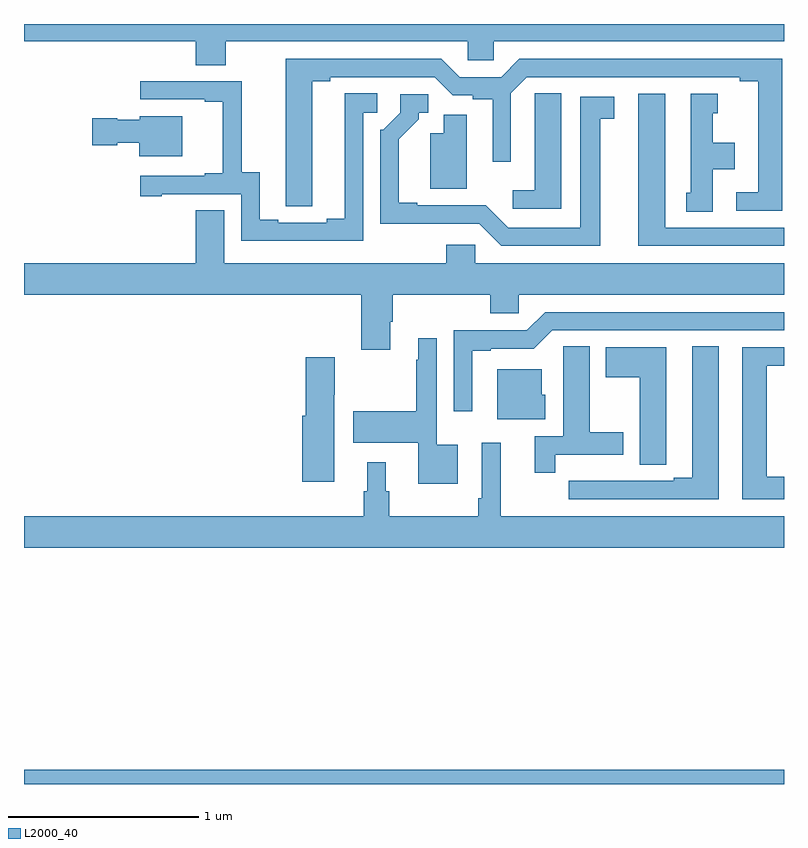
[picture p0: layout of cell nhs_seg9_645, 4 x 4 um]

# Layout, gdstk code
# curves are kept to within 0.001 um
import gdstk
lib = gdstk.Library(unit=1e-6, precision=1e-09)
def R(c, l, rs):  # rectangles x0, y0, x1, y1
    for r in rs: c.add(gdstk.rectangle(r[:2], r[2:], *l))
def P(c, l, *ps):  # polygons
    for p in ps: c.add(gdstk.Polygon(p, *l))
L2000_40 = (2000, 40)

nhs_seg9_645 = lib.new_cell('nhs_seg9_645')
R(nhs_seg9_645, L2000_40, [(143,1204.5,147,1204.576)])
P(nhs_seg9_645, L2000_40, [(144.063,1208.408),(145.335,1208.408),(145.335,1208.31),(145.473,1208.31),(145.473,1208.408),(147,1208.408),(147,1208.5),(143,1208.5),(143,1208.408),(143.903,1208.408),(143.903,1208.284),(144.063,1208.284)],
  [(146.992,1208.316),(145.607,1208.316),(145.511,1208.22),(145.293,1208.22),(145.197,1208.316),(144.377,1208.316),(144.378,1207.54),(144.517,1207.54),(144.517,1208.2),(144.613,1208.2),(144.613,1208.22),(145.161,1208.22),(145.257,1208.124),(145.362,1208.124),(145.362,1208.104),(145.466,1208.104),(145.466,1207.776),(145.563,1207.776),(145.563,1208.136),(145.647,1208.22),(146.768,1208.22),(146.768,1208.2),(146.864,1208.2),(146.864,1207.614),(146.748,1207.614),(146.748,1207.518),(146.992,1207.518)],
  [(144.786,1208.034),(144.859,1208.034),(144.859,1208.135),(144.689,1208.135),(144.689,1207.475),(144.593,1207.475),(144.593,1207.455),(144.337,1207.455),(144.337,1207.47),(144.241,1207.47),(144.241,1207.721),(144.147,1207.721),(144.147,1208.199),(143.613,1208.199),(143.613,1208.103),(143.951,1208.103),(143.951,1208.091),(144.047,1208.091),(144.047,1207.714),(143.951,1207.714),(143.951,1207.701),(143.613,1207.701),(143.613,1207.593),(143.725,1207.593),(143.725,1207.605),(144.144,1207.605),(144.144,1207.359),(144.786,1207.359)],
  [(145.828,1208.135),(145.689,1208.135),(145.689,1208.027),(145.688,1208.027),(145.688,1207.624),(145.572,1207.624),(145.572,1207.527),(145.828,1207.527)],
  [(147,1207.428),(146.374,1207.428),(146.374,1208.134),(146.234,1208.134),(146.234,1207.332),(147,1207.332)],
  [(146.626,1207.736),(146.74,1207.736),(146.74,1207.876),(146.626,1207.876),(146.626,1208.031),(146.65,1208.031),(146.65,1208.134),(146.51,1208.134),(146.51,1207.611),(146.486,1207.611),(146.486,1207.513),(146.626,1207.513)],
  [(146.032,1208.002),(146.107,1208.002),(146.107,1208.118),(145.928,1208.118),(145.928,1207.428),(145.548,1207.428),(145.431,1207.545),(145.069,1207.545),(145.069,1207.558),(144.973,1207.558),(144.973,1207.894),(145.078,1207.999),(145.078,1208.034),(145.128,1208.034),(145.128,1208.13),(144.981,1208.13),(144.981,1208.034),(144.891,1207.944),(144.876,1207.944),(144.876,1207.448),(145.395,1207.449),(145.512,1207.332),(146.032,1207.332)],
  [(145.33,1208.022),(145.208,1208.022),(145.208,1207.924),(145.139,1207.924),(145.139,1207.634),(145.33,1207.634)],
  [(143.833,1208.014),(143.61,1208.014),(143.61,1207.996),(143.49,1207.996),(143.49,1208.004),(143.358,1208.004),(143.358,1207.862),(143.49,1207.862),(143.49,1207.874),(143.606,1207.874),(143.606,1207.805),(143.833,1207.805)],
  [(144.928,1206.934),(144.941,1206.934),(144.941,1207.076),(145.454,1207.076),(145.454,1206.978),(145.605,1206.978),(145.605,1207.076),(147,1207.076),(147,1207.24),(145.374,1207.24),(145.374,1207.338),(145.223,1207.338),(145.223,1207.24),(144.055,1207.24),(144.055,1207.52),(143.903,1207.52),(143.903,1207.24),(143,1207.24),(143,1207.076),(144.776,1207.076),(144.776,1206.786),(144.928,1206.786)],
  [(145.36,1206.78),(145.456,1206.78),(145.456,1206.792),(145.683,1206.792),(145.779,1206.888),(147,1206.888),(147,1206.984),(145.743,1206.984),(145.647,1206.888),(145.263,1206.888),(145.263,1206.462),(145.36,1206.462)],
  [(145.282,1206.286),(145.173,1206.286),(145.173,1206.847),(145.076,1206.847),(145.076,1206.734),(145.065,1206.734),(145.065,1206.462),(144.732,1206.462),(144.732,1206.296),(145.076,1206.296),(145.076,1206.08),(145.282,1206.08)],
  [(145.796,1206.234),(146.155,1206.234),(146.155,1206.351),(145.978,1206.351),(145.978,1206.803),(145.839,1206.803),(145.839,1206.692),(145.838,1206.692),(145.838,1206.33),(145.688,1206.33),(145.688,1206.138),(145.796,1206.138)],
  [(146.656,1206.803),(146.516,1206.803),(146.516,1206.111),(146.42,1206.111),(146.42,1206.096),(146.144,1206.096),(146.144,1206.097),(145.978,1206.097),(145.978,1206.096),(145.866,1206.096),(145.866,1206),(146.656,1206)],
  [(146.379,1206.289),(146.38,1206.289),(146.38,1206.799),(146.063,1206.799),(146.063,1206.64),(146.24,1206.64),(146.24,1206.181),(146.379,1206.181)],
  [(147,1206.116),(146.908,1206.116),(146.908,1206.702),(147,1206.702),(147,1206.798),(146.78,1206.798),(146.78,1206),(147,1206)],
  [(144.634,1206.55),(144.636,1206.55),(144.636,1206.745),(144.482,1206.745),(144.482,1206.438),(144.464,1206.438),(144.464,1206.09),(144.634,1206.09)],
  [(145.744,1206.549),(145.726,1206.549),(145.726,1206.682),(145.49,1206.682),(145.49,1206.419),(145.744,1206.419)],
  [(147,1205.908),(145.508,1205.908),(145.508,1206.295),(145.41,1206.295),(145.41,1206.004),(145.39,1206.004),(145.39,1205.908),(144.923,1205.908),(144.923,1206.042),(144.904,1206.042),(144.904,1206.193),(144.806,1206.193),(144.806,1206.042),(144.787,1206.042),(144.787,1205.908),(143,1205.908),(143,1205.744),(147,1205.744)])

lib.write_gds('nhs_seg9_645.gds')
